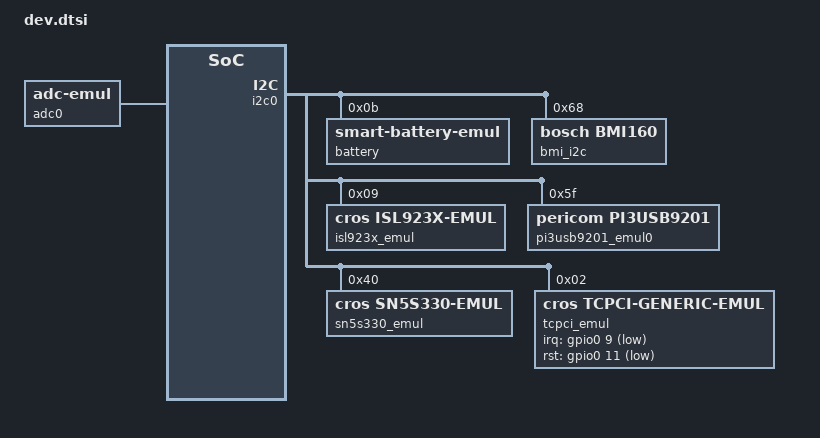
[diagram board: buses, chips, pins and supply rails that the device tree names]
/* Copyright 2023 The ChromiumOS Authors
 * Use of this source code is governed by a BSD-style license that can be
 * found in the LICENSE file.
 */

#include <board-overlays/native_sim.dts>

/ {
	named-adc-channels {
		compatible = "named-adc-channels";

		adc_charger: charger {
			enum-name = "ADC_TEMP_SENSOR_CHARGER";
			io-channels = <&adc0 0>;
		};
	};

	named-gpios {
		ec_batt_pres_odl {
			gpios = <&gpio0 28 GPIO_INPUT>;
			enum-name = "GPIO_BATT_PRES_ODL";
		};
		gpio_usb_c0_bc12_int_l: usb_c0_bc12_int_l {
			gpios = <&gpio0 10 GPIO_INPUT>;
		};
		gpio_usb_c0_ppc_int: usb_c0_ppc_int {
			gpios = <&gpio0 14 (GPIO_INPUT | GPIO_ACTIVE_LOW)>;
		};
		gpio_acok_od: acok_od {
			gpios = <&gpio0 0 GPIO_INPUT>;
			enum-name = "GPIO_AC_PRESENT";
		};
	};

	named-i2c-ports {
		compatible = "named-i2c-ports";
		accel-0 {
			i2c-port = <&i2c0>;
			enum-names = "I2C_PORT_ACCEL",  "I2C_PORT_BATTERY";
		};

	};

	adc0: adc {
		compatible = "zephyr,adc-emul";
		nchannels = <6>;
		ref-internal-mv = <3300>;
		#io-channel-cells = <1>;
		status = "okay";
	};

	batteries {
		default_battery: lgc_ac17a8m {
			compatible = "lgc,ac17a8m", "battery-smart";
			/**
			 * this has to be strictly lower than the desired
			 * voltage in smart battery emulator (5000mV).
			 */
			voltage_min = <4000>;
		};
	};

	gpio-interrupts {
		compatible = "cros-ec,gpio-interrupts";

		int_usb_c0_bc12: usb_c0_bc12 {
			irq-pin = <&gpio_usb_c0_bc12_int_l>;
			flags = <GPIO_INT_EDGE_FALLING>;
			handler = "usb0_evt";
		};
		int_ac_present: ac_present {
			irq-pin = <&gpio_acok_od>;
			flags = <GPIO_INT_EDGE_BOTH>;
			handler = "extpower_interrupt";
		};
	};

	usbc {
		#address-cells = <1>;
		#size-cells = <0>;

		port0@0 {
			compatible = "named-usbc-port";
			reg = <0>;
			bc12 = <&pi3usb9201_emul0>;
			chg = <&isl923x_emul>;
			tcpc = <&tcpci_emul>;
			ppc = <&sn5s330_emul>;
			usb-mux-chain-0 {
				compatible = "cros-ec,usb-mux-chain";
				usb-muxes = <&tcpci_mux_c0
					     &virtual_mux_c0>;
			};
		};
		port0-muxes {
			tcpci_mux_c0: tcpci-mux-c0 {
				compatible = "cros-ec,usbc-mux-tcpci";
			};
			virtual_mux_c0: virtual-mux-c0 {
				compatible = "cros-ec,usbc-mux-virtual";
			};
		};
	};
};

&i2c0 {
	battery: sb@b {
		compatible = "zephyr,smart-battery-emul";
		reg = <0xb>;
		cycle-count = <99>;
		version = "BATTERY_SPEC_VER_1_1_WITH_PEC";
		/* Real battery voltages are multiples of 4.4V. */
		desired-charg-volt = <5000>;
		desired-charg-cur = <1000>;
		mf-name = "LGC";
		dev-name = "AC17A8M";
	};

	bmi_i2c: bmi@68 {
		compatible = "bosch,bmi160";
		reg = <0x68>;
	};

	isl923x_emul: isl923x@9 {
		compatible = "cros,isl923x-emul";
		status = "okay";
		reg = <0x9>;
		battery = <&battery>;
	};

	pi3usb9201_emul0: pi3usb9201@5f {
		compatible = "pericom,pi3usb9201";
		reg = <0x5f>;
		irq = <&int_usb_c0_bc12>;
	};

	sn5s330_emul: sn5s330@40 {
		compatible = "cros,sn5s330-emul";
		reg = <0x40>;
		int-pin = <&gpio_usb_c0_ppc_int>;
	};

	tcpci_emul: tcpci_emul@2 {
		compatible = "cros,tcpci-generic-emul";
		status = "okay";
		reg = <0x2>;
		irq-gpios = <&gpio0 9 GPIO_ACTIVE_LOW>;
		rst-gpios = <&gpio0 11 GPIO_ACTIVE_LOW>;
	};
};
